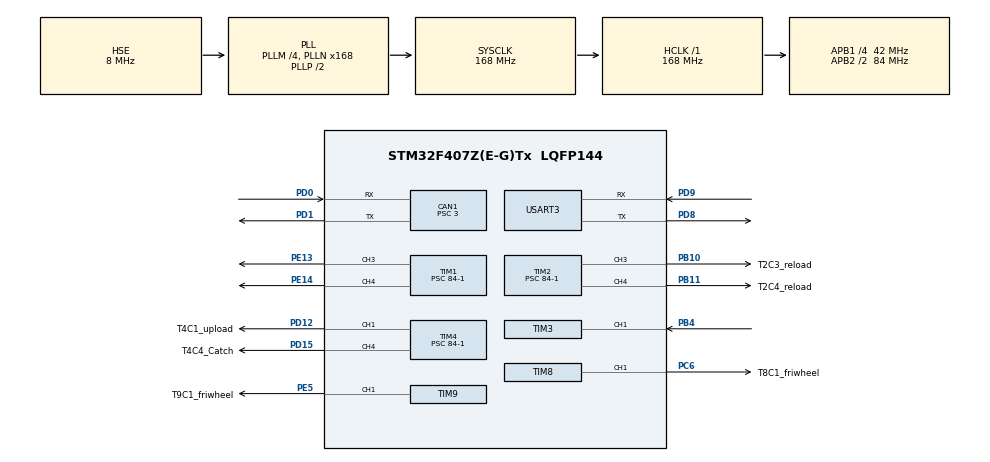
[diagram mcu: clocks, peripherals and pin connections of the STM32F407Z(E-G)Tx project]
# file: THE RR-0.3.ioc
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CAN1.ABOM=ENABLE
CAN1.BS1=CAN_BS1_9TQ
CAN1.BS2=CAN_BS2_4TQ
CAN1.CalculateBaudRate=1000000
CAN1.CalculateTimeBit=1000
CAN1.CalculateTimeQuantum=71.42857142857143
CAN1.Prescaler=3
Dma.Request0=USART3_RX
Dma.USART3_RX.0.Direction=DMA_PERIPH_TO_MEMORY
Dma.USART3_RX.0.FIFOMode=DMA_FIFOMODE_DISABLE
Dma.USART3_RX.0.Instance=DMA1_Stream1
Dma.USART3_RX.0.MemDataAlignment=DMA_MDATAALIGN_BYTE
Dma.USART3_RX.0.MemInc=DMA_MINC_ENABLE
Dma.USART3_RX.0.Mode=DMA_CIRCULAR
Dma.USART3_RX.0.PeriphDataAlignment=DMA_PDATAALIGN_BYTE
Dma.USART3_RX.0.PeriphInc=DMA_PINC_DISABLE
Dma.USART3_RX.0.Priority=DMA_PRIORITY_VERY_HIGH
FREERTOS.Tasks01=defaultTask,1,128,StartDefaultTask,Default,NULL,Dynamic,NULL,NULL;myTask02,0,128,StartTask02,Default,NULL,Dynamic,NULL,NULL;myTask03,-3,128,StartTask03,Default,NULL,Dynamic,NULL,NULL;myTask04,-3,128,StartTask04,Default,NULL,Dynamic,NULL,NULL
Mcu.Family=STM32F4
Mcu.Name=STM32F407Z(E-G)Tx
Mcu.Package=LQFP144
NVIC.CAN1_RX0_IRQn=true\:5\:0\:false\:false\:true\:true\:true\:true\:true
NVIC.CAN1_TX_IRQn=true\:5\:0\:false\:false\:true\:true\:true\:true\:true
NVIC.DMA1_Stream1_IRQn=true\:5\:0\:false\:false\:true\:true\:false\:true\:true
NVIC.PriorityGroup=NVIC_PRIORITYGROUP_4
NVIC.TIM6_DAC_IRQn=true\:5\:0\:false\:false\:true\:true\:true\:true\:true
NVIC.TIM7_IRQn=true\:15\:0\:false\:false\:true\:false\:false\:true\:true
NVIC.TimeBase=TIM7_IRQn
NVIC.TimeBaseIP=TIM7
NVIC.USART3_IRQn=true\:5\:0\:false\:false\:true\:true\:true\:true\:true
PA13.Mode=Serial_Wire
PA13.Signal=SYS_JTMS-SWDIO
PA14.Mode=Serial_Wire
PA14.Signal=SYS_JTCK-SWCLK
PA8.GPIO_Label=T1C1_friwheel
PA8.Signal=S_TIM1_CH1
PB10.GPIO_Label=T2C3_reload
PB10.Signal=S_TIM2_CH3
PB11.GPIO_Label=T2C4_reload
PB11.Signal=S_TIM2_CH4
PB4.Signal=S_TIM3_CH1
PC6.GPIO_Label=T8C1_friwheel
PC6.Signal=S_TIM8_CH1
PD0.Mode=CAN_Activate
PD0.Signal=CAN1_RX
PD1.Mode=CAN_Activate
PD1.Signal=CAN1_TX
PD12.GPIO_Label=T4C1_upload
PD12.Signal=S_TIM4_CH1
PD15.GPIO_Label=T4C4_Catch
PD15.Signal=S_TIM4_CH4
PD8.Mode=Asynchronous
PD8.Signal=USART3_TX
PD9.GPIO_PuPd=GPIO_PULLUP
PD9.Mode=Asynchronous
PD9.Signal=USART3_RX
PE13.Signal=S_TIM1_CH3
PE14.Signal=S_TIM1_CH4
PE5.GPIO_Label=T9C1_friwheel
PE5.Signal=S_TIM9_CH1
PH0-OSC_IN.Mode=HSE-External-Oscillator
PH0-OSC_IN.Signal=RCC_OSC_IN
PH1-OSC_OUT.Mode=HSE-External-Oscillator
PH1-OSC_OUT.Signal=RCC_OSC_OUT
ProjectManager.HeapSize=0x200
ProjectManager.StackSize=0x400
ProjectManager.TargetToolchain=MDK-ARM V5.32
RCC.48MHZClocksFreq_Value=84000000
RCC.AHBFreq_Value=168000000
RCC.APB1CLKDivider=RCC_HCLK_DIV4
RCC.APB1Freq_Value=42000000
RCC.APB1TimFreq_Value=84000000
RCC.APB2CLKDivider=RCC_HCLK_DIV2
RCC.APB2Freq_Value=84000000
RCC.APB2TimFreq_Value=168000000
RCC.CortexFreq_Value=168000000
RCC.EnbaleCSS=true
RCC.HCLKFreq_Value=168000000
RCC.HSE_VALUE=8000000
RCC.HSI_VALUE=16000000
RCC.LSE_VALUE=32768
RCC.PLLM=4
RCC.PLLN=168
RCC.PLLSourceVirtual=RCC_PLLSOURCE_HSE
RCC.SYSCLKFreq_VALUE=168000000
RCC.SYSCLKSource=RCC_SYSCLKSOURCE_PLLCLK
RCC.VCOOutputFreq_Value=336000000
SH.S_TIM1_CH1.0=TIM1_CH1
SH.S_TIM1_CH3.0=TIM1_CH3,PWM Generation3 CH3
SH.S_TIM1_CH4.0=TIM1_CH4,PWM Generation4 CH4
SH.S_TIM2_CH3.0=TIM2_CH3,PWM Generation3 CH3
SH.S_TIM2_CH4.0=TIM2_CH4,PWM Generation4 CH4
SH.S_TIM3_CH1.0=TIM3_CH1,PWM_Input_1
SH.S_TIM4_CH1.0=TIM4_CH1,PWM Generation1 CH1
SH.S_TIM4_CH4.0=TIM4_CH4,PWM Generation4 CH4
SH.S_TIM8_CH1.0=TIM8_CH1,PWM Generation1 CH1
SH.S_TIM9_CH1.0=TIM9_CH1,PWM Generation1 CH1
STMicroelectronics.X-CUBE-ALGOBUILD.1.3.0.LibraryCcDSPOoLibraryJjDSPOoLibrary=true
TIM1.Channel-PWM\ Generation3\ CH3=TIM_CHANNEL_3
TIM1.Channel-PWM\ Generation4\ CH4=TIM_CHANNEL_4
TIM1.Period=1000-1
TIM1.Prescaler=84-1
TIM2.AutoReloadPreload=TIM_AUTORELOAD_PRELOAD_ENABLE
TIM2.Channel-PWM\ Generation3\ CH3=TIM_CHANNEL_3
TIM2.Channel-PWM\ Generation4\ CH4=TIM_CHANNEL_4
TIM2.Period=10000-1
TIM2.Prescaler=84-1
TIM3.Prescaler=2-1
TIM4.AutoReloadPreload=TIM_AUTORELOAD_PRELOAD_ENABLE
TIM4.Channel-PWM\ Generation1\ CH1=TIM_CHANNEL_1
TIM4.Channel-PWM\ Generation4\ CH4=TIM_CHANNEL_4
TIM4.Period=10000-1
TIM4.Prescaler=84-1
TIM6.Period=10000-1
TIM6.Prescaler=84-1
TIM8.Channel-PWM\ Generation1\ CH1=TIM_CHANNEL_1
TIM8.Period=10000-1
TIM8.Prescaler=84-1
TIM9.AutoReloadPreload=TIM_AUTORELOAD_PRELOAD_ENABLE
TIM9.Channel-PWM\ Generation1\ CH1=TIM_CHANNEL_1
TIM9.Period=10000-1
TIM9.Prescaler=84-1
USART3.VirtualMode=VM_ASYNC
VP_FREERTOS_VS_CMSIS_V1.Mode=CMSIS_V1
VP_IWDG_VS_IWDG.Mode=IWDG_Activate
VP_STMicroelectronics.X-CUBE-ALGOBUILD_VS_DSPOoLibraryJjLibrary_1.3.0_1.3.0.Mode=DSPOoLibraryJjLibrary
VP_SYS_VS_tim7.Mode=TIM7
VP_TIM1_VS_ClockSourceINT.Mode=Internal
VP_TIM2_VS_ClockSourceINT.Mode=Internal
VP_TIM3_VS_ClockSourceINT.Mode=Internal
VP_TIM4_VS_ClockSourceINT.Mode=Internal
VP_TIM6_VS_ClockSourceINT.Mode=Enable_Timer
VP_TIM8_VS_ClockSourceINT.Mode=Internal
VP_TIM9_VS_ClockSourceINT.Mode=Internal
board=custom

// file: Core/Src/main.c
/* USER CODE BEGIN Header */
/**
  ******************************************************************************
  * @file           : main.c
  * @brief          : Main program body
  ******************************************************************************
  * @attention
  *
  * Copyright (c) 2023 STMicroelectronics.
  * All rights reserved.
  *
  * This software is licensed under terms that can be found in the LICENSE file
  * in the root directory of this software component.
  * If no LICENSE file comes with this software, it is provided AS-IS.
  *
  ******************************************************************************
  */
/* USER CODE END Header */
#include "main.h"
#include "cmsis_os.h"
#include "can.h"
#include "dma.h"
#include "iwdg.h"
#include "tim.h"
#include "usart.h"
#include "gpio.h"

/* USER CODE BEGIN Includes */
#include "bsp_can.h"
#include <stdio.h>
#include <string.h>
#include "friction.h"
#include "pick.h"
#include "pitch.h"
#include "chassis.h"

#include "pitch_init.h"
/* USER CODE END Includes */

/* USER CODE BEGIN PTD */
uint8_t receive_buff[8] = {127,127,200,127,127,0,255,127};
uint8_t tx_buff[255];

int state = 10; // watch dog

/* USER CODE END PTD */

void SystemClock_Config(void);
void MX_FREERTOS_Init(void);
/* USER CODE BEGIN PFP */
int32_t set_spd = 0;
/* USER CODE END PFP */

int main(void)
{

  /* MCU Configuration--------------------------------------------------------*/

  /* Reset of all peripherals, Initializes the Flash interface and the Systick. */
  HAL_Init();

  /* Configure the system clock */
  SystemClock_Config();

  /* Initialize all configured peripherals */
  MX_GPIO_Init();
  MX_DMA_Init();
  MX_CAN1_Init();
  MX_USART3_UART_Init();
  MX_TIM6_Init();
  MX_TIM1_Init();
  MX_TIM4_Init();
  MX_TIM8_Init();
  MX_TIM9_Init();
  MX_TIM3_Init();
  MX_TIM2_Init();
  MX_IWDG_Init();
  /* USER CODE BEGIN 2 */

	HAL_IWDG_Init(&hiwdg);

		HAL_TIM_PWM_Init(&htim1);
	__HAL_UART_ENABLE_IT(&huart3, UART_IT_IDLE);         //使能串UART1 IDLE中断
		HAL_UART_Receive_DMA(&huart3, (uint8_t*)receive_buff, 255);   //设置DMA传输，串�?1的数据搬运到recvive_buff中，

	can_filter_init();
	HAL_CAN_Start(&hcan1);
	HAL_CAN_ActivateNotification(&hcan1, CAN_IT_RX_FIFO0_MSG_PENDING);
	HAL_TIM_Base_Start_IT(&htim6);

	// friction wheel

  HAL_TIM_PWM_Start(&htim8, TIM_CHANNEL_1);

  HAL_TIM_PWM_Start(&htim9, TIM_CHANNEL_1);
	// friction wheel
//	FRICTION_InitMotor(0, &htim1, &htim8, TIM_CHANNEL_1, TIM_CHANNEL_2);
  FRICTION_InitMotor(1, &htim8, &htim9, TIM_CHANNEL_1, TIM_CHANNEL_1); //

	// upload servo

	HAL_TIM_PWM_Start(&htim4, TIM_CHANNEL_1); // PD 12
	PICK_InitMotor(0, &htim4, TIM_CHANNEL_1); // upload - 0

	PICK_Run_Pulse(0, 10000-1600); // 1400 load

//	HAL_Delay(500);
	// reload servo

	HAL_TIM_PWM_Start(&htim2, TIM_CHANNEL_3); // PB 10
	HAL_TIM_PWM_Start(&htim2, TIM_CHANNEL_4); // PB 11
	PICK_InitMotor(1, &htim2, TIM_CHANNEL_3); // reload- 1 the one 500
	PICK_InitMotor(2, &htim2, TIM_CHANNEL_4); // reload- 2

	PICK_Run_Pulse(1, 10000-510);
  PICK_Run_Pulse(2, 10000-(3000-510));

//	HAL_Delay(500);

	// catch servo
	HAL_TIM_PWM_Start(&htim4, TIM_CHANNEL_4); // PD 15
	PICK_InitMotor(4, &htim4, TIM_CHANNEL_4); // catch- 4

  PICK_Run_Pulse(4, 10000-500);
//	HAL_Delay(500);

	// pitch init
	HAL_TIM_PWM_Start(&htim1, TIM_CHANNEL_3);
	HAL_TIM_PWM_Start(&htim1, TIM_CHANNEL_4);
	HAL_TIM_IC_Start_IT(&htim3, TIM_CHANNEL_1);
  HAL_TIM_IC_Start_IT(&htim3, TIM_CHANNEL_2);
	Pitch_InitMotor(0, &htim1, &htim3, TIM_CHANNEL_4, TIM_CHANNEL_3, 1, 0, 0);
	pitch_init();

	// chassis_init
	chassis_init();

	CAN_cmd_chassis(0,0,0,0);

  /* USER CODE END 2 */

  /* Call init function for freertos objects (in freertos.c) */
  MX_FREERTOS_Init();

  /* Start scheduler */
  osKernelStart();
  /* We should never get here as control is now taken by the scheduler */
  /* Infinite loop */
  while (1)
  {

  }
}

void SystemClock_Config(void)
{
  RCC_OscInitTypeDef RCC_OscInitStruct = {0};
  RCC_ClkInitTypeDef RCC_ClkInitStruct = {0};

  /** Configure the main internal regulator output voltage
  */
  __HAL_RCC_PWR_CLK_ENABLE();
  __HAL_PWR_VOLTAGESCALING_CONFIG(PWR_REGULATOR_VOLTAGE_SCALE1);

  /** Initializes the RCC Oscillators according to the specified parameters
  * in the RCC_OscInitTypeDef structure.
  */
  RCC_OscInitStruct.OscillatorType = RCC_OSCILLATORTYPE_LSI|RCC_OSCILLATORTYPE_HSE;
  RCC_OscInitStruct.HSEState = RCC_HSE_ON;
  RCC_OscInitStruct.LSIState = RCC_LSI_ON;
  RCC_OscInitStruct.PLL.PLLState = RCC_PLL_ON;
  RCC_OscInitStruct.PLL.PLLSource = RCC_PLLSOURCE_HSE;
  RCC_OscInitStruct.PLL.PLLM = 4;
  RCC_OscInitStruct.PLL.PLLN = 168;
  RCC_OscInitStruct.PLL.PLLP = RCC_PLLP_DIV2;
  RCC_OscInitStruct.PLL.PLLQ = 4;
  if (HAL_RCC_OscConfig(&RCC_OscInitStruct) != HAL_OK)
  {
    Error_Handler();
  }

  /** Initializes the CPU, AHB and APB buses clocks
  */
  RCC_ClkInitStruct.ClockType = RCC_CLOCKTYPE_HCLK|RCC_CLOCKTYPE_SYSCLK
                              |RCC_CLOCKTYPE_PCLK1|RCC_CLOCKTYPE_PCLK2;
  RCC_ClkInitStruct.SYSCLKSource = RCC_SYSCLKSOURCE_PLLCLK;
  RCC_ClkInitStruct.AHBCLKDivider = RCC_SYSCLK_DIV1;
  RCC_ClkInitStruct.APB1CLKDivider = RCC_HCLK_DIV4;
  RCC_ClkInitStruct.APB2CLKDivider = RCC_HCLK_DIV2;

  if (HAL_RCC_ClockConfig(&RCC_ClkInitStruct, FLASH_LATENCY_5) != HAL_OK)
  {
    Error_Handler();
  }

  /** Enables the Clock Security System
  */
  HAL_RCC_EnableCSS();
}

void HAL_TIM_PeriodElapsedCallback(TIM_HandleTypeDef *htim)
{
  if (htim->Instance == TIM7) {
    HAL_IncTick();
  }
  /* USER CODE BEGIN Callback 1 */
	if (htim == &htim6){

		state --;
		if(state <= 0){

			pid_pitch_control(220);
			CAN_cmd_chassis(0,0,0,0);

		//	FRICTION_SetThrottle(1, 0);

	//		FRICTION_Run(1);

		}

	}

  /* USER CODE END Callback 1 */
}

void Error_Handler(void)
{
  __disable_irq();
  while (1)
  {
  }
}

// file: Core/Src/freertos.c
/* USER CODE BEGIN Header */
/**
  ******************************************************************************
  * File Name          : freertos.c
  * Description        : Code for freertos applications
  ******************************************************************************
  * @attention
  *
  * Copyright (c) 2023 STMicroelectronics.
  * All rights reserved.
  *
  * This software is licensed under terms that can be found in the LICENSE file
  * in the root directory of this software component.
  * If no LICENSE file comes with this software, it is provided AS-IS.
  *
  ******************************************************************************
  */
/* USER CODE END Header */

#include "FreeRTOS.h"
#include "task.h"
#include "main.h"
#include "cmsis_os.h"

/* USER CODE BEGIN Includes */
#include "stm32f4xx_hal.h"

#include <stdio.h>
#include <stdint.h>
#include "bsp_can.h"
#include "chassis.h"
#include "usart.h"
#include "string.h"
#include "pick.h"
#include "friction.h"
#include "pitch.h"
#include "iwdg.h"
#include "pitch_init.h"
/* USER CODE END Includes */

/* USER CODE BEGIN PTD */

#define weight 20 ; // the speed weight

#define ch_vx_s1 	1
#define ch_vy_s1  0
#define ch_wx_s1 	3
#define ch_re_s1  6  //
#define ch_up_s1  4  // tap to up load
#define ch_fr_s1  5  // up and donw // or
#define ch_ca_s1  7  // two type
#define ch_pi_s1  2  // the pich

// 定义常量，用于表示数组的�?

const int ARRAY_SIZE = 8;

// 定义常量，用于表示死区的�?

const int DEAD_ZONE = 30 ;

/* USER CODE END PTD */

/* USER CODE BEGIN Variables */
extern uint8_t tx_buff[255];   //  tf
extern uint8_t receive_buff[8];// original  data
int filter_buff[8] = {127,127,200,127,127,0,255,127};           //  filter  data

extern const motor_measure_t   *motor_data[4]; // 3508 data
extern float wheel_speed[4];                   // 3508 speed
extern float  vx, vy,wz ;                      // vector speed

extern int state ; // watch dog

float Position = 0;    														// pitch postion read
float target_position = 220 ;                       //  TGT postion

void filter_array(uint8_t* arr); // filter function
int my_abs(int x);               // abs cc
int map_value(int x);            // map
int map_fire(int x);

int speed_fire    = 0 ;   // fire speed

int state_fire    =0 ; // state_fire
int state_last_fire = 0; //  last fire
int state_reload  =0 ; // state_reload
int state_last_reload = 0 ; // state_last
int state_upload  =0; // state_upload
int state_last_upload = 0; // last_upload
int state_catch   =0; // state_catch
int state_last_catch = 0;
int catch_delay = 0;
int reload_time = 0;
/* for debug
int p = 0;
float a = 0.0f;
*/
/* USER CODE END Variables */
osThreadId defaultTaskHandle;
osThreadId myTask02Handle;
osThreadId myTask03Handle;
osThreadId myTask04Handle;

void StartDefaultTask(void const * argument);
void StartTask02(void const * argument);
void StartTask03(void const * argument);
void StartTask04(void const * argument);

void MX_FREERTOS_Init(void); /* (MISRA C 2004 rule 8.1) */

/* GetIdleTaskMemory prototype (linked to static allocation support) */
void vApplicationGetIdleTaskMemory( StaticTask_t **ppxIdleTaskTCBBuffer, StackType_t **ppxIdleTaskStackBuffer, uint32_t *pulIdleTaskStackSize );

/* USER CODE BEGIN GET_IDLE_TASK_MEMORY */
static StaticTask_t xIdleTaskTCBBuffer;
static StackType_t xIdleStack[configMINIMAL_STACK_SIZE];

void vApplicationGetIdleTaskMemory( StaticTask_t **ppxIdleTaskTCBBuffer, StackType_t **ppxIdleTaskStackBuffer, uint32_t *pulIdleTaskStackSize )
{
  *ppxIdleTaskTCBBuffer = &xIdleTaskTCBBuffer;
  *ppxIdleTaskStackBuffer = &xIdleStack[0];
  *pulIdleTaskStackSize = configMINIMAL_STACK_SIZE;
  /* place for user code */
}
/* USER CODE END GET_IDLE_TASK_MEMORY */

void MX_FREERTOS_Init(void) {

  /* Create the thread(s) */
  /* definition and creation of defaultTask */
  osThreadDef(defaultTask, StartDefaultTask, osPriorityAboveNormal, 0, 128);
  defaultTaskHandle = osThreadCreate(osThread(defaultTask), NULL);

  /* definition and creation of myTask02 */
  osThreadDef(myTask02, StartTask02, osPriorityNormal, 0, 128);
  myTask02Handle = osThreadCreate(osThread(myTask02), NULL);

  /* definition and creation of myTask03 */
  osThreadDef(myTask03, StartTask03, osPriorityIdle, 0, 128);
  myTask03Handle = osThreadCreate(osThread(myTask03), NULL);

  /* definition and creation of myTask04 */
  osThreadDef(myTask04, StartTask04, osPriorityIdle, 0, 128);
  myTask04Handle = osThreadCreate(osThread(myTask04), NULL);

}

void StartDefaultTask(void const * argument)
{
  /* USER CODE BEGIN StartDefaultTask */

	// in this task we mainly focus on data processing
	filter_buff[ch_fr_s1] = 127;

  /* Infinite loop */
	for(;;)
  {

		if(state >0 ){
			filter_array(receive_buff);
			// chassis
			vx = -(filter_buff[ch_vx_s1] - 127)* weight;
			vy = -(filter_buff[ch_vy_s1] - 127)* weight;
			wz = (filter_buff[ch_wx_s1] - 127)* weight;

			//pitch
		//	target_position = map_value(filter_buff[ch_pi_s1]);
			target_position = map_value(receive_buff[ch_pi_s1]);

			//reload

			if(filter_buff[ch_re_s1] > 127 ){

				state_reload = 0 ;
				reload_time = 0;

			}else if(filter_buff[ch_re_s1] < 127){

				state_reload = 1 ;

			  target_position = 180;

			}else if(filter_buff[ch_re_s1] == 127){

				state_reload = -1 ;

				target_position = 180;
			}

			//catch

			if(filter_buff[ch_ca_s1] > 127 ){

				state_catch = -1 ;

			}else if(filter_buff[ch_ca_s1] < 127){

				state_catch = 1 ;

			}else if(filter_buff[ch_ca_s1] == 127)
			{
				state_catch = 0 ;

			}

			//upload
			if(filter_buff[ch_up_s1] >= 127 ){

				state_upload = 0 ;

			}else if(filter_buff[ch_up_s1] < 127){

				state_upload = 1 ;

			}

			//fire

			/*
			if(filter_buff[ch_fr_s1] >= 127 ){

				state_fire = 0 ;

			}else if(filter_buff[ch_fr_s1] < 127){

				state_fire= 1 ;

			}*/

			speed_fire = map_fire(filter_buff[ch_fr_s1]) ;

		}

    osDelay(10);

	}
  /* USER CODE END StartDefaultTask */
}

void StartTask02(void const * argument)
{
  /* USER CODE BEGIN StartTask02 */
  /* Infinite loop */
  for(;;)
  {
		if(state > 0){

			// chassis

			//reload a complex relad
				if(state_reload == 0){

						if((state_last_reload == 1 || state_last_reload == -1 ) && catch_delay == 1){

								int pulse = 700 ;

								while(pulse >= 550){

								PICK_Run_Pulse(1,10000-pulse);
								PICK_Run_Pulse(2,10000-(3000-pulse));

								osDelay(500);
								pulse -= 50;
								}

						catch_delay = 0;

						}

								if(state_catch !=  -1){

												if(state_last_catch == -1){
																	int pulse1 = 700 ;

																	while(pulse1 >= 550){

																	PICK_Run_Pulse(1,10000-pulse1);
																	PICK_Run_Pulse(2,10000-(3000-pulse1));

																	osDelay(500);
																	pulse1 -= 50;
																}

													}

											PICK_Run_Pulse(1,10000-510);
											PICK_Run_Pulse(2,10000-(3000-510));

											state_last_catch = state_catch ;

								}else if(state_catch == -1){

											PICK_Run_Pulse(1,10000-1210);
											PICK_Run_Pulse(2,10000-(3000-1210));
											state_last_catch = state_catch ;

								}

			catch_delay = 0;
			state_last_reload = state_reload;

			}

			else if(state_reload == 1){

				speed_fire = 0;

				if(state_last_reload == -1){

			    PICK_Run_Pulse(1,10000-1930);
			    PICK_Run_Pulse(2,10000-(3000-1930));

						osDelay(700);

			    	PICK_Run_Pulse(4,10000-900);

						// no maxload here

					catch_delay = 1;
				}

			state_last_reload = 1  ;

			}else if(state_reload == -1){

			state_last_reload = state_reload ;
			}

			//catch
			if(state_catch == 0 && state_reload != 1 && state_reload != -1){

					PICK_Run_Pulse(4,10000-500);

			}else if(state_catch == 1 && state_reload != 1 && state_reload != -1){

					PICK_Run_Pulse(4,10000-1100);

			}

			// upload

			if(state_upload == 0 ){

				if(state_reload ==1 || state_reload == -1 ){
						PICK_Run_Pulse(0, 10000-800);

				}

				else if(state_reload != 1 ){

					PICK_Run_Pulse(0, 10000-1600);

				}

			//	PICK_Run_Pulse(0, 10000-2430);

			}else if(state_upload == 1){

				PICK_Run_Pulse(0, 10000-600);

				}

			}

    osDelay(1);
  }
  /* USER CODE END StartTask02 */
}

void StartTask03(void const * argument)
{
  /* USER CODE BEGIN StartTask03 */
	// in this task we focus on data read

  /* Infinite loop */
  for(;;)
  {

			if(state > 0){
			chassis_vector_to_mecanum_wheel_speed(vx,vy,wz,wheel_speed);
			chassis_control_loop(wheel_speed);
				// pitch
			pid_pitch_control(target_position);

			if(state_reload == 1){
					speed_fire = 0;

			}
				__HAL_TIM_SET_COMPARE(&htim8,TIM_CHANNEL_1, speed_fire);
				__HAL_TIM_SET_COMPARE(&htim9,TIM_CHANNEL_1, speed_fire);

		}

    osDelay(1);
  }
  /* USER CODE END StartTask03 */
}

void StartTask04(void const * argument)
{
  /* USER CODE BEGIN StartTask04 */
  /* Infinite loop */
  for(;;)
  {
		HAL_IWDG_Refresh(&hiwdg);
		Position = Pitch_Get_Position(0);
		chassis_state_update();

    osDelay(1);
  }
  /* USER CODE END StartTask04 */
}

/* USER CODE BEGIN Application */

// data filter

void filter_array(uint8_t* arr) {

    int last_value = arr[0];
    // 遍历输入数组中的每个元素
    for (int i = 0; i < ARRAY_SIZE; i++) {
        // 如果当前元素和上�?次的值相差很大（比如大于100�?
        if (my_abs(arr[i] - last_value) > 100) {
            // 则保留上�?次的�?
            filter_buff[i] = last_value;
        }
        // 否则，如果当前元素在127附近有一个死�?
        else if (arr[i] >= 127 - DEAD_ZONE && arr[i] <= 127 + DEAD_ZONE) {
            // 则将当前元素设为127
            arr[i] = 127;
        }
        // 否则，将当前元素保留
        else {
            // do nothing
        }
        // 更新上一次的�?
        filter_buff[i] = arr[i];
    }
	}

int my_abs(int x) {
    // 如果x是正数或者零，直接返回x
    if (x >= 0) {
        return x;
    }
    // 否则，用平方的方式来计算x的绝对�??
    else {
        // 定义�?个变量，用于存储x的平方根
        double sqrt_x = sqrt((double)x * x);
        // 将平方根转换为整数，并返�?
        return (int)sqrt_x;
    }

}

// 定义�?个函数，接收�?�?0-255的�?�，返回�?�?200-160的�??
int map_value(int x) {
    // 定义�?个变量，用于存储输出结果
    int y;
    // 如果x小于0，将其设�?0
    if (x < 0) {
        x = 0;
    }
    // 如果x大于255，将其设�?255
    if (x > 255) {
        x = 255;
    }
    // 根据线�?�映射公式，计算y的�??
    y = 175 + (234 - 175 ) * (x - 0) / (255 - 0);
    // 返回y的�??
    return y;
}

int map_fire(int x) {
  // 使用线�?�插值的公式，y = y1 + (y2 - y1) * (x - x1) / (x2 - x1)
  // 其中，x1 = 0, x2 = 255, y1 = 8000, y2 = 10000
	 if (x < 30) {
    return 0;
  }
  int y = 3000 + (10000 - 3000) * (x - 0) / (255 - 0);

	if (x > 250) {
    return 10000;
  }

		if (x > 30 && x < 60) {
    return 3000;
  }

  return y;
}

/* USER CODE END Application */
